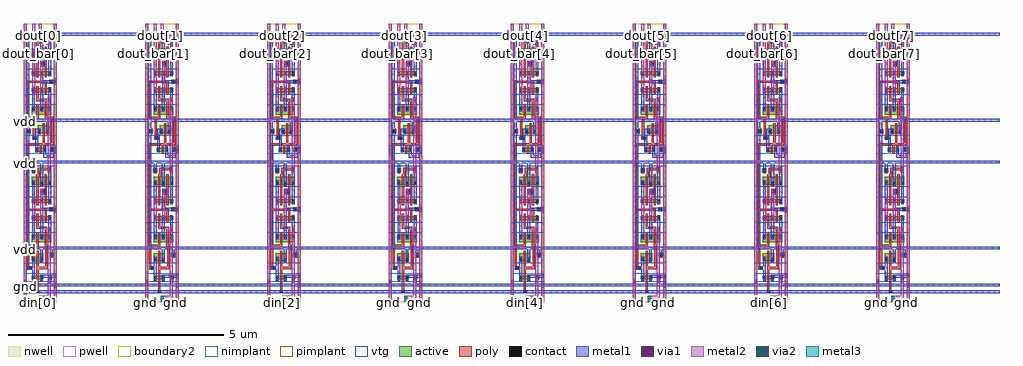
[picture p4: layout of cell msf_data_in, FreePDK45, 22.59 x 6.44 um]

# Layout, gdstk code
import gdstk
lib = gdstk.Library(unit=1e-6, precision=5e-10)
def R(c, l, rs):  # rectangles x0, y0, x1, y1
    for r in rs: c.add(gdstk.rectangle(r[:2], r[2:], *l))
active = (1, 0)
pwell = (2, 0)
nwell = (3, 0)
nimplant = (4, 0)
pimplant = (5, 0)
vtg = (6, 0)
poly = (9, 0)
contact = (10, 0)
metal1 = (11, 0)
via1 = (12, 0)
metal2 = (13, 0)
via2 = (14, 0)
metal3 = (15, 0)
boundary2 = (239, 0)

ms_flop = lib.new_cell('ms_flop')
R(ms_flop, active, [(0.16,0.525,0.235,0.6), (0.16,0.525,0.42,0.615), (0.16,0.525,0.235,0.615), (0.16,0.525,0.235,0.615), (0.345,0.525,0.42,0.6), (0.345,0.525,0.42,0.615), (0.345,0.525,0.42,0.615), (0.53,0.525,0.62,0.615), (0.16,0.95,0.235,1.025), (0.16,0.95,0.42,1.13), (0.16,0.95,0.235,1.13), (0.16,0.95,0.235,1.13), (0.345,0.95,0.42,1.025), (0.345,0.95,0.42,1.13), (0.345,0.95,0.42,1.13), (0.57,1.05,0.66,1.14), (0.16,1.38,0.42,1.56), (0.16,1.38,0.235,1.56), (0.16,1.38,0.235,1.56), (0.345,1.38,0.42,1.56), (0.345,1.38,0.42,1.56), (0.35,1.38,0.61,1.56), (0.35,1.38,0.425,1.56), (0.35,1.38,0.425,1.56), (0.535,1.38,0.61,1.56), (0.535,1.38,0.61,1.56), (0.16,1.485,0.235,1.56), (0.345,1.485,0.42,1.56), (0.35,1.485,0.425,1.56), (0.535,1.485,0.61,1.56), (0.16,1.895,0.42,1.985), (0.16,1.895,0.235,1.985), (0.16,1.895,0.235,1.985), (0.345,1.895,0.42,1.985), (0.345,1.895,0.42,1.985), (0.35,1.895,0.61,1.985), (0.35,1.895,0.425,1.985), (0.35,1.895,0.425,1.985), (0.535,1.895,0.61,1.985), (0.535,1.895,0.61,1.985), (0.16,1.91,0.235,1.985), (0.345,1.91,0.42,1.985), (0.35,1.91,0.425,1.985), (0.535,1.91,0.61,1.985), (0.565,2.1,0.655,2.19), (0.16,2.295,0.235,2.37), (0.16,2.295,0.42,2.385), (0.16,2.295,0.235,2.385), (0.16,2.295,0.235,2.385), (0.345,2.295,0.42,2.37), (0.345,2.295,0.42,2.385), (0.345,2.295,0.42,2.385), (0.35,2.295,0.425,2.37), (0.35,2.295,0.61,2.385), (0.35,2.295,0.425,2.385), (0.35,2.295,0.425,2.385), (0.535,2.295,0.61,2.37), (0.535,2.295,0.61,2.385), (0.535,2.295,0.61,2.385), (0.16,2.72,0.235,2.795), (0.16,2.72,0.42,2.9), (0.16,2.72,0.235,2.9), (0.16,2.72,0.235,2.9), (0.345,2.72,0.42,2.795), (0.345,2.72,0.42,2.9), (0.345,2.72,0.42,2.9), (0.35,2.72,0.425,2.795), (0.35,2.72,0.61,2.9), (0.35,2.72,0.425,2.9), (0.35,2.72,0.425,2.9), (0.535,2.72,0.61,2.795), (0.535,2.72,0.61,2.9), (0.535,2.72,0.61,2.9), (0.1525,3.01,0.2425,3.1), (0.235,3.485,0.495,3.575), (0.235,3.485,0.31,3.575), (0.235,3.485,0.31,3.575), (0.42,3.485,0.495,3.575), (0.42,3.485,0.495,3.575), (0.575,3.485,0.665,3.575), (0.235,3.5,0.31,3.575), (0.42,3.5,0.495,3.575), (0.0425,3.91,0.1325,4), (0.3,3.91,0.375,3.985), (0.3,3.91,0.56,4.09), (0.3,3.91,0.375,4.09), (0.3,3.91,0.375,4.09), (0.485,3.91,0.56,3.985), (0.485,3.91,0.56,4.09), (0.485,3.91,0.56,4.09), (0.16,4.34,0.42,4.52), (0.16,4.34,0.235,4.52), (0.16,4.34,0.235,4.52), (0.345,4.34,0.42,4.52), (0.345,4.34,0.42,4.52), (0.35,4.34,0.61,4.52), (0.35,4.34,0.425,4.52), (0.35,4.34,0.425,4.52), (0.535,4.34,0.61,4.52), (0.535,4.34,0.61,4.52), (0.16,4.445,0.235,4.52), (0.345,4.445,0.42,4.52), (0.35,4.445,0.425,4.52), (0.535,4.445,0.61,4.52), (0.16,4.855,0.42,4.945), (0.16,4.855,0.235,4.945), (0.16,4.855,0.235,4.945), (0.345,4.855,0.42,4.945), (0.345,4.855,0.42,4.945), (0.35,4.855,0.61,4.945), (0.35,4.855,0.425,4.945), (0.35,4.855,0.425,4.945), (0.535,4.855,0.61,4.945), (0.535,4.855,0.61,4.945), (0.16,4.87,0.235,4.945), (0.345,4.87,0.42,4.945), (0.35,4.87,0.425,4.945), (0.535,4.87,0.61,4.945), (0.565,5.06,0.655,5.15), (0.16,5.255,0.235,5.33), (0.16,5.255,0.42,5.345), (0.16,5.255,0.235,5.345), (0.16,5.255,0.235,5.345), (0.345,5.255,0.42,5.33), (0.345,5.255,0.42,5.345), (0.345,5.255,0.42,5.345), (0.35,5.255,0.425,5.33), (0.35,5.255,0.61,5.345), (0.35,5.255,0.425,5.345), (0.35,5.255,0.425,5.345), (0.535,5.255,0.61,5.33), (0.535,5.255,0.61,5.345), (0.535,5.255,0.61,5.345), (0.16,5.68,0.235,5.755), (0.16,5.68,0.42,5.86), (0.16,5.68,0.235,5.86), (0.16,5.68,0.235,5.86), (0.345,5.68,0.42,5.755), (0.345,5.68,0.42,5.86), (0.345,5.68,0.42,5.86), (0.35,5.68,0.425,5.755), (0.35,5.68,0.61,5.86), (0.35,5.68,0.425,5.86), (0.35,5.68,0.425,5.86), (0.535,5.68,0.61,5.755), (0.535,5.68,0.61,5.86), (0.535,5.68,0.61,5.86), (0.1525,6.09,0.2425,6.18)])
R(ms_flop, pwell, [(-0.035,0.47,0.74,0.67), (0.105,0.47,0.475,0.67), (0.475,0.47,0.675,0.67), (-0.035,1.84,0.74,2.44), (0.105,1.84,0.475,2.04), (0.295,1.84,0.665,2.04), (0.51,2.045,0.71,2.245), (0.105,2.24,0.475,2.44), (0.295,2.24,0.665,2.44), (-0.035,3.43,0.74,3.63), (0.18,3.43,0.55,3.63), (0.52,3.43,0.72,3.63), (-0.035,4.8,0.74,5.4), (0.105,4.8,0.475,5), (0.295,4.8,0.665,5), (0.51,5.005,0.71,5.205), (0.105,5.2,0.475,5.4), (0.295,5.2,0.665,5.4)])
R(ms_flop, nwell, [(-0.035,0.895,0.74,1.615), (0.105,0.895,0.475,1.185), (0.515,0.995,0.715,1.195), (0.105,1.325,0.475,1.615), (0.295,1.325,0.665,1.615), (-0.035,2.665,0.74,3.155), (0.105,2.665,0.475,2.955), (0.295,2.665,0.665,2.955), (0.0975,2.955,0.2975,3.155), (-0.035,3.855,0.74,4.575), (-0.0125,3.855,0.1875,4.055), (0.245,3.855,0.615,4.145), (0.105,4.285,0.475,4.575), (0.295,4.285,0.665,4.575), (-0.035,5.625,0.74,6.235), (0.105,5.625,0.475,5.915), (0.295,5.625,0.665,5.915), (0.0975,6.035,0.2975,6.235)])
R(ms_flop, nimplant, [(0.16,0.525,0.42,0.615), (0.57,1.05,0.66,1.14), (0.16,1.895,0.42,1.985), (0.35,1.895,0.61,1.985), (0.16,2.295,0.42,2.385), (0.35,2.295,0.61,2.385), (0.1525,3.01,0.2425,3.1), (0.235,3.485,0.495,3.575), (0.0425,3.91,0.1325,4), (0.16,4.855,0.42,4.945), (0.35,4.855,0.61,4.945), (0.16,5.255,0.42,5.345), (0.35,5.255,0.61,5.345), (0.1525,6.09,0.2425,6.18)])
R(ms_flop, pimplant, [(0.53,0.525,0.62,0.615), (0.16,0.95,0.42,1.13), (0.16,1.38,0.42,1.56), (0.35,1.38,0.61,1.56), (0.565,2.1,0.655,2.19), (0.16,2.72,0.42,2.9), (0.35,2.72,0.61,2.9), (0.575,3.485,0.665,3.575), (0.3,3.91,0.56,4.09), (0.16,4.34,0.42,4.52), (0.35,4.34,0.61,4.52), (0.565,5.06,0.655,5.15), (0.16,5.68,0.42,5.86), (0.35,5.68,0.61,5.86)])
R(ms_flop, vtg, [(-0.035,0.47,0.74,0.67), (0.105,0.47,0.475,0.67), (-0.035,0.895,0.74,1.615), (0.105,0.895,0.475,1.185), (0.105,1.325,0.475,1.615), (0.295,1.325,0.665,1.615), (-0.035,1.84,0.74,2.44), (0.105,1.84,0.475,2.04), (0.295,1.84,0.665,2.04), (0.105,2.24,0.475,2.44), (0.295,2.24,0.665,2.44), (-0.035,2.665,0.74,3.155), (0.105,2.665,0.475,2.955), (0.295,2.665,0.665,2.955), (-0.0325,3.43,0.74,3.63), (0.18,3.43,0.55,3.63), (-0.035,3.855,0.74,4.575), (0.245,3.855,0.615,4.145), (0.105,4.285,0.475,4.575), (0.295,4.285,0.665,4.575), (-0.035,4.8,0.74,5.4), (0.105,4.8,0.475,5), (0.295,4.8,0.665,5), (0.105,5.2,0.475,5.4), (0.295,5.2,0.665,5.4), (-0.035,5.625,0.74,6.115), (0.105,5.625,0.475,5.915), (0.295,5.625,0.665,5.915)])
R(ms_flop, poly, [(0.2575,0.2,0.3325,0.275), (0.265,0.2,0.315,0.47), (0.265,0.47,0.315,0.525), (0.265,0.47,0.315,0.67), (0.265,0.615,0.315,0.67), (0.265,0.67,0.315,0.895), (0.0525,0.75,0.1025,1.325), (0.0875,0.75,0.1625,0.825), (0.315,0.7625,0.52,0.8125), (0.47,0.8125,0.52,1.325), (0.265,0.895,0.315,0.95), (0.265,0.895,0.315,1.185), (0.265,1.13,0.315,1.185), (0.0525,1.275,0.315,1.325), (0.455,1.275,0.52,1.325), (0.0525,1.325,0.1025,2.115), (0.265,1.325,0.315,1.38), (0.265,1.325,0.315,1.615), (0.455,1.325,0.505,1.38), (0.455,1.325,0.505,1.615), (0.265,1.56,0.315,1.615), (0.455,1.56,0.505,1.615), (0.455,1.615,0.505,1.695), (0.265,1.695,0.505,1.745), (0.265,1.745,0.315,1.84), (0.265,1.84,0.315,1.895), (0.265,1.84,0.315,2.04), (0.455,1.84,0.505,1.895), (0.455,1.84,0.505,2.04), (0.265,1.985,0.315,2.04), (0.455,1.985,0.505,2.04), (0.455,2.04,0.505,2.115), (0.0525,2.115,0.505,2.165), (0.0525,2.165,0.1025,3.68), (0.265,2.24,0.315,2.295), (0.265,2.24,0.315,2.44), (0.455,2.24,0.505,2.295), (0.455,2.24,0.505,2.44), (0.265,2.385,0.315,2.44), (0.455,2.385,0.505,2.44), (0.265,2.44,0.315,2.665), (0.455,2.44,0.505,2.665), (0.405,2.52,0.48,2.595), (0.265,2.665,0.315,2.72), (0.265,2.665,0.315,2.955), (0.455,2.665,0.505,2.72), (0.455,2.665,0.505,2.955), (0.265,2.9,0.315,2.955), (0.265,2.9,0.3425,2.955), (0.455,2.9,0.505,2.955), (0.2925,2.955,0.3425,3.055), (0.5275,3.03,0.6025,3.105), (0.2925,3.055,0.535,3.105), (0.34,3.43,0.39,3.485), (0.34,3.43,0.39,3.63), (0.34,3.575,0.39,3.63), (0.0525,3.63,0.62,3.68), (0.405,3.63,0.455,3.855), (0.61,3.63,0.66,4.285), (0.1825,3.755,0.2325,3.7875), (0.1975,3.755,0.2725,3.83), (0.1825,3.7875,0.2325,4.285), (0.405,3.855,0.455,3.91), (0.405,3.855,0.455,4.145), (0.405,4.09,0.455,4.145), (0.0525,4.235,0.315,4.285), (0.455,4.235,0.62,4.285), (0.0525,4.285,0.1025,5.075), (0.265,4.285,0.315,4.34), (0.265,4.285,0.315,4.575), (0.455,4.285,0.505,4.34), (0.455,4.285,0.505,4.575), (0.265,4.52,0.315,4.575), (0.455,4.52,0.505,4.575), (0.455,4.575,0.505,4.655), (0.265,4.655,0.505,4.705), (0.265,4.705,0.315,4.8), (0.265,4.8,0.315,4.855), (0.265,4.8,0.315,5), (0.455,4.8,0.505,4.855), (0.455,4.8,0.505,5), (0.265,4.945,0.315,5), (0.455,4.945,0.505,5), (0.455,5,0.505,5.075), (0.0525,5.075,0.505,5.125), (0.265,5.2,0.315,5.255), (0.265,5.2,0.315,5.4), (0.455,5.2,0.505,5.255), (0.455,5.2,0.505,5.4), (0.265,5.345,0.315,5.4), (0.455,5.345,0.505,5.4), (0.265,5.4,0.315,5.625), (0.455,5.4,0.505,5.625), (0.395,5.48,0.47,5.555), (0.265,5.625,0.315,5.68), (0.265,5.625,0.315,5.915), (0.455,5.625,0.505,5.68), (0.455,5.625,0.505,5.915), (0.265,5.86,0.315,5.915), (0.455,5.86,0.505,5.915), (0.265,5.915,0.315,5.99), (0.265,5.99,0.535,6.04), (0.485,5.99,0.56,6.065)])
R(ms_flop, contact, [(0.2625,0.205,0.3275,0.27), (0.165,0.53,0.23,0.595), (0.35,0.53,0.415,0.595), (0.5425,0.5375,0.6075,0.6025), (0.0925,0.755,0.1575,0.82), (0.165,0.955,0.23,1.02), (0.35,0.955,0.415,1.02), (0.5825,1.0625,0.6475,1.1275), (0.165,1.49,0.23,1.555), (0.35,1.49,0.415,1.555), (0.355,1.49,0.42,1.555), (0.54,1.49,0.605,1.555), (0.165,1.915,0.23,1.98), (0.35,1.915,0.415,1.98), (0.355,1.915,0.42,1.98), (0.54,1.915,0.605,1.98), (0.5775,2.1125,0.6425,2.1775), (0.165,2.3,0.23,2.365), (0.35,2.3,0.415,2.365), (0.355,2.3,0.42,2.365), (0.54,2.3,0.605,2.365), (0.41,2.525,0.475,2.59), (0.165,2.725,0.23,2.79), (0.35,2.725,0.415,2.79), (0.355,2.725,0.42,2.79), (0.54,2.725,0.605,2.79), (0.165,3.0225,0.23,3.0875), (0.5325,3.035,0.5975,3.1), (0.5875,3.4975,0.6525,3.5625), (0.24,3.505,0.305,3.57), (0.425,3.505,0.49,3.57), (0.2025,3.76,0.2675,3.825), (0.305,3.915,0.37,3.98), (0.49,3.915,0.555,3.98), (0.055,3.9225,0.12,3.9875), (0.165,4.45,0.23,4.515), (0.35,4.45,0.415,4.515), (0.355,4.45,0.42,4.515), (0.54,4.45,0.605,4.515), (0.165,4.875,0.23,4.94), (0.35,4.875,0.415,4.94), (0.355,4.875,0.42,4.94), (0.54,4.875,0.605,4.94), (0.5775,5.0725,0.6425,5.1375), (0.165,5.26,0.23,5.325), (0.35,5.26,0.415,5.325), (0.355,5.26,0.42,5.325), (0.54,5.26,0.605,5.325), (0.4,5.485,0.465,5.55), (0.165,5.685,0.23,5.75), (0.35,5.685,0.415,5.75), (0.355,5.685,0.42,5.75), (0.54,5.685,0.605,5.75), (0.49,5.995,0.555,6.06), (0.165,6.1025,0.23,6.1675)])
R(ms_flop, metal1, [(-0.035,0.205,0.74,0.27), (-0.035,0.205,0.74,0.27), (0.2275,0.205,0.3625,0.27), (0.105,0.21,0.17,0.2675), (0.6725,0.335,0.7375,0.47), (-0.035,0.365,0.74,0.43), (-0.035,0.365,0.74,0.43), (-0.0325,0.385,0.0325,0.52), (0.5425,0.43,0.6075,0.5025), (0.6725,0.45,0.7375,0.5725), (0.165,0.495,0.23,0.63), (0.165,0.495,0.23,0.92), (0.35,0.495,0.415,0.63), (0.5425,0.5025,0.6075,0.6375), (0.6725,0.525,0.7375,0.66), (0.415,0.56,0.6725,0.63), (0.0575,0.75,0.23,0.825), (0.0575,0.755,0.1925,0.82), (0.165,0.92,0.23,1.055), (0.35,0.92,0.415,1.055), (0.5825,1.0275,0.6475,1.1625), (0.35,1.0525,0.415,1.22), (0.5825,1.14,0.6475,1.255), (-0.035,1.22,0.74,1.285), (-0.035,1.22,0.74,1.285), (0.035,1.285,0.1,3.21), (0.165,1.455,0.23,1.59), (0.35,1.455,0.415,1.59), (0.355,1.455,0.42,1.59), (0.54,1.455,0.605,1.59), (0.165,1.59,0.23,1.88), (0.35,1.59,0.42,1.88), (0.54,1.59,0.605,1.88), (0.5325,1.6025,0.5975,1.7375), (0.1675,1.8775,0.2325,2.0125), (0.355,1.8775,0.42,2.0125), (0.165,1.88,0.23,2.015), (0.35,1.88,0.415,2.015), (0.355,1.88,0.42,2.015), (0.54,1.88,0.605,2.015), (0.6725,2.0775,0.7375,2.2125), (0.35,2.11,0.42,2.2675), (0.35,2.11,0.735,2.18), (0.5425,2.1125,0.6775,2.1775), (0.165,2.265,0.23,2.4), (0.35,2.265,0.415,2.4), (0.355,2.265,0.42,2.4), (0.54,2.265,0.605,2.4), (0.1675,2.2675,0.2325,2.4025), (0.165,2.4,0.23,2.69), (0.54,2.4,0.605,2.69), (0.355,2.49,0.42,2.625), (0.41,2.49,0.475,2.625), (0.165,2.69,0.23,2.825), (0.35,2.69,0.415,2.825), (0.355,2.69,0.42,2.825), (0.54,2.69,0.605,2.825), (0.35,2.825,0.42,3.21), (0.54,2.825,0.605,3.135), (0.165,2.9875,0.23,3.1225), (0.5325,3,0.5975,3.135), (0.5325,3,0.5975,3.135), (0.165,3.1225,0.23,3.21), (-0.035,3.21,0.74,3.275), (-0.035,3.21,0.74,3.275), (0.035,3.275,0.1,6.17), (0.425,3.34,0.67,3.405), (0.5875,3.34,0.67,3.4625), (0.425,3.405,0.4925,3.5075), (0.5875,3.4625,0.6525,3.5975), (0.6075,3.4625,0.675,3.5975), (0.6725,3.4625,0.7375,3.5975), (0.24,3.47,0.305,3.605), (0.425,3.47,0.49,3.605), (0.24,3.565,0.305,4.015), (0.1675,3.76,0.3025,3.825), (0.305,3.88,0.37,4.015), (0.49,3.88,0.555,4.015), (0.055,3.8875,0.12,4.0225), (0.49,4.0125,0.555,4.18), (-0.035,4.18,0.74,4.245), (-0.035,4.18,0.74,4.245), (0.165,4.415,0.23,4.55), (0.35,4.415,0.415,4.55), (0.355,4.415,0.42,4.55), (0.54,4.415,0.605,4.55), (0.165,4.55,0.23,4.84), (0.35,4.55,0.42,4.84), (0.54,4.55,0.605,4.84), (0.53,4.6075,0.595,4.7425), (0.165,4.8375,0.23,4.9725), (0.355,4.8375,0.42,4.9725), (0.165,4.84,0.23,4.975), (0.35,4.84,0.415,4.975), (0.355,4.84,0.42,4.975), (0.54,4.84,0.605,4.975), (0.6725,5.0375,0.7375,5.1725), (0.35,5.07,0.42,5.2275), (0.35,5.07,0.735,5.14), (0.5425,5.0725,0.6775,5.1375), (0.165,5.225,0.23,5.36), (0.35,5.225,0.415,5.36), (0.355,5.225,0.42,5.36), (0.54,5.225,0.605,5.36), (0.165,5.36,0.23,5.65), (0.54,5.36,0.605,5.65), (0.355,5.45,0.42,5.585), (0.4,5.45,0.465,5.585), (0.165,5.65,0.23,5.785), (0.35,5.65,0.415,5.785), (0.355,5.65,0.42,5.785), (0.54,5.65,0.605,5.785), (0.165,5.7025,0.23,5.8375), (0.35,5.785,0.42,6.17), (0.54,5.785,0.605,6.095), (0.49,5.96,0.555,6.095), (0.5325,5.96,0.5975,6.095), (0.165,6.0675,0.23,6.2025), (-0.035,6.17,0.74,6.235), (-0.035,6.17,0.74,6.235), (0.305,6.1725,0.3775,6.235)])
R(ms_flop, via1, [(0.6725,0.37,0.7375,0.435), (-0.0325,0.42,0.0325,0.485), (0.6725,0.56,0.7375,0.625), (0.5325,1.6375,0.5975,1.7025), (0.1675,1.9125,0.2325,1.9775), (0.355,1.9125,0.42,1.9775), (0.6725,2.1125,0.7375,2.1775), (0.1675,2.3025,0.2325,2.3675), (0.355,2.525,0.42,2.59), (0.5325,3.035,0.5975,3.1), (0.6725,3.4975,0.7375,3.5625), (0.53,4.6425,0.595,4.7075), (0.165,4.8725,0.23,4.9375), (0.355,4.8725,0.42,4.9375), (0.6725,5.0725,0.7375,5.1375), (0.355,5.485,0.42,5.55), (0.165,5.7375,0.23,5.8025), (0.5325,5.995,0.5975,6.06)])
R(ms_flop, metal2, [(-0.035,0,0.035,6.44), (-0.035,0,0.035,6.44), (0.3175,0,0.3875,0.14), (0.3175,0,0.3875,0.145), (0.3175,0,0.3875,0.145), (0.67,0,0.74,6.44), (0.67,0,0.74,6.44), (0.3175,0.005,0.385,0.07), (0.3825,0.075,0.53,0.145), (0.53,0.075,0.6,1.7375), (0.67,0.335,0.74,0.47), (-0.035,0.385,0.035,0.52), (0.67,0.525,0.74,0.66), (0.53,1.6025,0.6,1.7375), (0.165,1.8775,0.235,2.0125), (0.165,1.8775,0.235,2.4025), (0.3525,1.8775,0.4225,2.0125), (0.3525,1.8775,0.4225,2.595), (0.67,2.0775,0.74,2.2125), (0.165,2.2675,0.235,2.4025), (0.3525,2.49,0.4225,2.625), (0.53,3,0.6,3.135), (0.53,3.135,0.6,4.7425), (0.67,3.4625,0.74,3.5975), (0.5275,4.6075,0.5975,4.7425), (0.1625,4.8375,0.2325,4.9725), (0.1625,4.8375,0.2325,5.7775), (0.3525,4.8375,0.4225,4.9725), (0.3525,4.8375,0.4225,5.555), (0.67,5.0375,0.74,5.1725), (0.3525,5.45,0.4225,5.585), (0.1625,5.7025,0.2325,5.8375), (0.1625,5.7525,0.2325,6.44), (0.1625,5.7525,0.2325,6.44), (0.53,5.96,0.6,6.095), (0.53,5.96,0.6,6.24), (-0.0325,5.9625,0.03,6.0225), (0.3175,6.17,0.3875,6.44), (0.3175,6.17,0.3875,6.44), (0.3875,6.17,0.53,6.24), (0.1675,6.3025,0.23,6.3625), (0.32,6.375,0.385,6.435)])
R(ms_flop, via2, [(0.3175,0.035,0.3875,0.105)])
R(ms_flop, metal3, [(0.3175,0,0.3875,0.14), (0.3175,0,0.3875,0.14)])
R(ms_flop, boundary2, [(0,0,0.705,6.44)])
ms_flop.add(gdstk.Label('l = 0.05', (0.515,2.81), layer=230, texttype=0))
ms_flop.add(gdstk.Label('w = 0.18', (0.48,2.965), layer=230, texttype=0))
ms_flop.add(gdstk.Label('l = 0.05', (0.515,1.47), layer=230, texttype=0))
ms_flop.add(gdstk.Label('w = 0.18', (0.48,1.315), layer=230, texttype=0))
ms_flop.add(gdstk.Label('l = 0.05', (0.325,2.81), layer=230, texttype=0))
ms_flop.add(gdstk.Label('w = 0.18', (0.29,2.965), layer=230, texttype=0))
ms_flop.add(gdstk.Label('l = 0.05', (0.325,5.77), layer=230, texttype=0))
ms_flop.add(gdstk.Label('w = 0.18', (0.29,5.925), layer=230, texttype=0))
ms_flop.add(gdstk.Label('l = 0.05', (0.325,1.47), layer=230, texttype=0))
ms_flop.add(gdstk.Label('w = 0.18', (0.29,1.315), layer=230, texttype=0))
ms_flop.add(gdstk.Label('l = 0.05', (0.515,5.77), layer=230, texttype=0))
ms_flop.add(gdstk.Label('w = 0.18', (0.48,5.925), layer=230, texttype=0))
ms_flop.add(gdstk.Label('l = 0.05', (0.325,1.04), layer=230, texttype=0))
ms_flop.add(gdstk.Label('w = 0.18', (0.29,1.195), layer=230, texttype=0))
ms_flop.add(gdstk.Label('l = 0.05', (0.465,4), layer=230, texttype=0))
ms_flop.add(gdstk.Label('w = 0.18', (0.43,4.155), layer=230, texttype=0))
ms_flop.add(gdstk.Label('l = 0.05', (0.515,4.43), layer=230, texttype=0))
ms_flop.add(gdstk.Label('w = 0.18', (0.48,4.275), layer=230, texttype=0))
ms_flop.add(gdstk.Label('l = 0.05', (0.325,4.43), layer=230, texttype=0))
ms_flop.add(gdstk.Label('w = 0.18', (0.29,4.275), layer=230, texttype=0))
ms_flop.add(gdstk.Label('l = 0.05', (0.515,4.9), layer=230, texttype=0))
ms_flop.add(gdstk.Label('w = 0.09', (0.48,4.79), layer=230, texttype=0))
ms_flop.add(gdstk.Label('l = 0.05', (0.515,1.94), layer=230, texttype=0))
ms_flop.add(gdstk.Label('w = 0.09', (0.48,1.83), layer=230, texttype=0))
ms_flop.add(gdstk.Label('l = 0.05', (0.515,5.3), layer=230, texttype=0))
ms_flop.add(gdstk.Label('w = 0.09', (0.48,5.41), layer=230, texttype=0))
ms_flop.add(gdstk.Label('l = 0.05', (0.325,5.3), layer=230, texttype=0))
ms_flop.add(gdstk.Label('w = 0.09', (0.29,5.41), layer=230, texttype=0))
ms_flop.add(gdstk.Label('l = 0.05', (0.325,1.94), layer=230, texttype=0))
ms_flop.add(gdstk.Label('w = 0.09', (0.29,1.83), layer=230, texttype=0))
ms_flop.add(gdstk.Label('l = 0.05', (0.325,4.9), layer=230, texttype=0))
ms_flop.add(gdstk.Label('w = 0.09', (0.29,4.79), layer=230, texttype=0))
ms_flop.add(gdstk.Label('l = 0.05', (0.325,2.34), layer=230, texttype=0))
ms_flop.add(gdstk.Label('w = 0.09', (0.29,2.45), layer=230, texttype=0))
ms_flop.add(gdstk.Label('l = 0.05', (0.515,2.34), layer=230, texttype=0))
ms_flop.add(gdstk.Label('w = 0.09', (0.48,2.45), layer=230, texttype=0))
ms_flop.add(gdstk.Label('l = 0.05', (0.325,0.57), layer=230, texttype=0))
ms_flop.add(gdstk.Label('w = 0.09', (0.29,0.68), layer=230, texttype=0))
ms_flop.add(gdstk.Label('l = 0.05', (0.4,3.53), layer=230, texttype=0))
ms_flop.add(gdstk.Label('w = 0.09', (0.365,3.42), layer=230, texttype=0))
ms_flop.add(gdstk.Label('dout', (0.3525,6.415), layer=13, texttype=0))
ms_flop.add(gdstk.Label('dout_bar', (0.2025,6.3375), layer=13, texttype=0))
ms_flop.add(gdstk.Label('gnd', (0,5.99), layer=13, texttype=0))
ms_flop.add(gdstk.Label('din', (0.345,0.04), layer=13, texttype=0))
ms_flop.add(gdstk.Label('gnd', (0.6825,6.29), layer=13, texttype=0))
ms_flop.add(gdstk.Label('din', (0.3325,0.0775), layer=15, texttype=0))
ms_flop.add(gdstk.Label('vdd', (0.2025,3.2625), layer=11, texttype=0))
ms_flop.add(gdstk.Label('gnd', (0.1425,0.415), layer=11, texttype=0))
ms_flop.add(gdstk.Label('vdd', (0.34,6.2025), layer=11, texttype=0))
ms_flop.add(gdstk.Label('clk', (0.135,0.24), layer=11, texttype=0))
ms_flop.add(gdstk.Label('vdd', (0.19,1.27), layer=11, texttype=0))
ms_flop.add(gdstk.Label('vdd', (0.295,4.2325), layer=11, texttype=0))
ms_flop.add(gdstk.Label('din', (0.3175,0), layer=13, texttype=0))
ms_flop.add(gdstk.Label('din', (0.3175,0), layer=15, texttype=0))
ms_flop.add(gdstk.Label('dout', (0.3175,6.17), layer=13, texttype=0))
ms_flop.add(gdstk.Label('clk', (-0.035,0.205), layer=11, texttype=0))
ms_flop.add(gdstk.Label('dout_bar', (0.1625,5.7525), layer=13, texttype=0))
ms_flop.add(gdstk.Label('vdd', (-0.035,3.21), layer=11, texttype=0))
ms_flop.add(gdstk.Label('vdd', (-0.035,6.17), layer=11, texttype=0))
ms_flop.add(gdstk.Label('vdd', (-0.035,1.22), layer=11, texttype=0))
ms_flop.add(gdstk.Label('vdd', (-0.035,4.18), layer=11, texttype=0))
ms_flop.add(gdstk.Label('gnd', (-0.035,0), layer=13, texttype=0))
ms_flop.add(gdstk.Label('gnd', (0.67,0), layer=13, texttype=0))
ms_flop.add(gdstk.Label('gnd', (-0.035,0.365), layer=11, texttype=0))

msf_data_in = lib.new_cell('msf_data_in')
R(msf_data_in, metal1, [(0,0.205,22.56,0.27), (0,0.205,22.56,0.27), (0,0.365,22.56,0.43), (0,0.365,22.56,0.43), (0,1.22,22.56,1.285), (0,1.22,22.56,1.285), (0,3.21,22.56,3.275), (0,3.21,22.56,3.275), (0,4.18,22.56,4.245), (0,4.18,22.56,4.245), (0,6.17,22.56,6.235), (0,6.17,22.56,6.235)])
R(msf_data_in, metal2, [(-0.035,0,0.035,6.44), (-0.035,0,0.035,6.44), (0.3175,0,0.3875,0.145), (0.3175,0,0.3875,0.145), (0.67,0,0.74,6.44), (0.67,0,0.74,6.44), (2.785,0,2.855,6.44), (2.785,0,2.855,6.44), (3.1375,0,3.2075,0.145), (3.1375,0,3.2075,0.145), (3.49,0,3.56,6.44), (3.49,0,3.56,6.44), (5.605,0,5.675,6.44), (5.605,0,5.675,6.44), (5.9575,0,6.0275,0.145), (5.9575,0,6.0275,0.145), (6.31,0,6.38,6.44), (6.31,0,6.38,6.44), (8.425,0,8.495,6.44), (8.425,0,8.495,6.44), (8.7775,0,8.8475,0.145), (8.7775,0,8.8475,0.145), (9.13,0,9.2,6.44), (9.13,0,9.2,6.44), (11.245,0,11.315,6.44), (11.245,0,11.315,6.44), (11.5975,0,11.6675,0.145), (11.5975,0,11.6675,0.145), (11.95,0,12.02,6.44), (11.95,0,12.02,6.44), (14.065,0,14.135,6.44), (14.065,0,14.135,6.44), (14.4175,0,14.4875,0.145), (14.4175,0,14.4875,0.145), (14.77,0,14.84,6.44), (14.77,0,14.84,6.44), (16.885,0,16.955,6.44), (16.885,0,16.955,6.44), (17.2375,0,17.3075,0.145), (17.2375,0,17.3075,0.145), (17.59,0,17.66,6.44), (17.59,0,17.66,6.44), (19.705,0,19.775,6.44), (19.705,0,19.775,6.44), (20.0575,0,20.1275,0.145), (20.0575,0,20.1275,0.145), (20.41,0,20.48,6.44), (20.41,0,20.48,6.44), (0.1625,5.7525,0.2325,6.44), (0.1625,5.7525,0.2325,6.44), (2.9825,5.7525,3.0525,6.44), (2.9825,5.7525,3.0525,6.44), (5.8025,5.7525,5.8725,6.44), (5.8025,5.7525,5.8725,6.44), (8.6225,5.7525,8.6925,6.44), (8.6225,5.7525,8.6925,6.44), (11.4425,5.7525,11.5125,6.44), (11.4425,5.7525,11.5125,6.44), (14.2625,5.7525,14.3325,6.44), (14.2625,5.7525,14.3325,6.44), (17.0825,5.7525,17.1525,6.44), (17.0825,5.7525,17.1525,6.44), (19.9025,5.7525,19.9725,6.44), (19.9025,5.7525,19.9725,6.44), (0.3175,6.17,0.3875,6.44), (0.3175,6.17,0.3875,6.44), (3.1375,6.17,3.2075,6.44), (3.1375,6.17,3.2075,6.44), (5.9575,6.17,6.0275,6.44), (5.9575,6.17,6.0275,6.44), (8.7775,6.17,8.8475,6.44), (8.7775,6.17,8.8475,6.44), (11.5975,6.17,11.6675,6.44), (11.5975,6.17,11.6675,6.44), (14.4175,6.17,14.4875,6.44), (14.4175,6.17,14.4875,6.44), (17.2375,6.17,17.3075,6.44), (17.2375,6.17,17.3075,6.44), (20.0575,6.17,20.1275,6.44), (20.0575,6.17,20.1275,6.44)])
R(msf_data_in, metal3, [(0.3175,0,0.3875,0.14), (0.3175,0,0.3875,0.14), (3.1375,0,3.2075,0.14), (3.1375,0,3.2075,0.14), (5.9575,0,6.0275,0.14), (5.9575,0,6.0275,0.14), (8.7775,0,8.8475,0.14), (8.7775,0,8.8475,0.14), (11.5975,0,11.6675,0.14), (11.5975,0,11.6675,0.14), (14.4175,0,14.4875,0.14), (14.4175,0,14.4875,0.14), (17.2375,0,17.3075,0.14), (17.2375,0,17.3075,0.14), (20.0575,0,20.1275,0.14), (20.0575,0,20.1275,0.14)])
msf_data_in.add(gdstk.Reference(ms_flop, (0,0)))
msf_data_in.add(gdstk.Reference(ms_flop, (2.82,0)))
msf_data_in.add(gdstk.Reference(ms_flop, (5.64,0)))
msf_data_in.add(gdstk.Reference(ms_flop, (8.46,0)))
msf_data_in.add(gdstk.Reference(ms_flop, (11.28,0)))
msf_data_in.add(gdstk.Reference(ms_flop, (14.1,0)))
msf_data_in.add(gdstk.Reference(ms_flop, (16.92,0)))
msf_data_in.add(gdstk.Reference(ms_flop, (19.74,0)))
msf_data_in.add(gdstk.Reference(ms_flop, (0,0)))
msf_data_in.add(gdstk.Reference(ms_flop, (2.82,0)))
msf_data_in.add(gdstk.Reference(ms_flop, (5.64,0)))
msf_data_in.add(gdstk.Reference(ms_flop, (8.46,0)))
msf_data_in.add(gdstk.Reference(ms_flop, (11.28,0)))
msf_data_in.add(gdstk.Reference(ms_flop, (14.1,0)))
msf_data_in.add(gdstk.Reference(ms_flop, (16.92,0)))
msf_data_in.add(gdstk.Reference(ms_flop, (19.74,0)))
msf_data_in.add(gdstk.Label('din[6]', (17.2375,0), layer=13, texttype=0))
msf_data_in.add(gdstk.Label('din[6]', (17.2375,0), layer=15, texttype=0))
msf_data_in.add(gdstk.Label('dout_bar[2]', (5.8025,5.7525), layer=13, texttype=0))
msf_data_in.add(gdstk.Label('din[4]', (11.5975,0), layer=13, texttype=0))
msf_data_in.add(gdstk.Label('din[4]', (11.5975,0), layer=15, texttype=0))
msf_data_in.add(gdstk.Label('din[0]', (0.3175,0), layer=13, texttype=0))
msf_data_in.add(gdstk.Label('din[0]', (0.3175,0), layer=15, texttype=0))
msf_data_in.add(gdstk.Label('din[2]', (5.9575,0), layer=13, texttype=0))
msf_data_in.add(gdstk.Label('din[2]', (5.9575,0), layer=15, texttype=0))
msf_data_in.add(gdstk.Label('clk', (0,0.205), layer=11, texttype=0))
msf_data_in.add(gdstk.Label('dout[6]', (17.2375,6.17), layer=13, texttype=0))
msf_data_in.add(gdstk.Label('dout_bar[6]', (17.0825,5.7525), layer=13, texttype=0))
msf_data_in.add(gdstk.Label('dout[2]', (5.9575,6.17), layer=13, texttype=0))
msf_data_in.add(gdstk.Label('dout[4]', (11.5975,6.17), layer=13, texttype=0))
msf_data_in.add(gdstk.Label('dout_bar[0]', (0.1625,5.7525), layer=13, texttype=0))
msf_data_in.add(gdstk.Label('dout[0]', (0.3175,6.17), layer=13, texttype=0))
msf_data_in.add(gdstk.Label('dout_bar[4]', (11.4425,5.7525), layer=13, texttype=0))
msf_data_in.add(gdstk.Label('gnd', (-0.035,0), layer=13, texttype=0))
msf_data_in.add(gdstk.Label('gnd', (0.67,0), layer=13, texttype=0))
msf_data_in.add(gdstk.Label('gnd', (2.785,0), layer=13, texttype=0))
msf_data_in.add(gdstk.Label('gnd', (3.49,0), layer=13, texttype=0))
msf_data_in.add(gdstk.Label('gnd', (5.605,0), layer=13, texttype=0))
msf_data_in.add(gdstk.Label('gnd', (6.31,0), layer=13, texttype=0))
msf_data_in.add(gdstk.Label('gnd', (8.425,0), layer=13, texttype=0))
msf_data_in.add(gdstk.Label('gnd', (9.13,0), layer=13, texttype=0))
msf_data_in.add(gdstk.Label('gnd', (11.245,0), layer=13, texttype=0))
msf_data_in.add(gdstk.Label('gnd', (11.95,0), layer=13, texttype=0))
msf_data_in.add(gdstk.Label('gnd', (14.065,0), layer=13, texttype=0))
msf_data_in.add(gdstk.Label('gnd', (14.77,0), layer=13, texttype=0))
msf_data_in.add(gdstk.Label('gnd', (16.885,0), layer=13, texttype=0))
msf_data_in.add(gdstk.Label('gnd', (17.59,0), layer=13, texttype=0))
msf_data_in.add(gdstk.Label('gnd', (19.705,0), layer=13, texttype=0))
msf_data_in.add(gdstk.Label('gnd', (20.41,0), layer=13, texttype=0))
msf_data_in.add(gdstk.Label('gnd', (0,0.365), layer=11, texttype=0))
msf_data_in.add(gdstk.Label('din[7]', (20.0575,0), layer=13, texttype=0))
msf_data_in.add(gdstk.Label('din[7]', (20.0575,0), layer=15, texttype=0))
msf_data_in.add(gdstk.Label('dout_bar[1]', (2.9825,5.7525), layer=13, texttype=0))
msf_data_in.add(gdstk.Label('din[3]', (8.7775,0), layer=13, texttype=0))
msf_data_in.add(gdstk.Label('din[3]', (8.7775,0), layer=15, texttype=0))
msf_data_in.add(gdstk.Label('din[5]', (14.4175,0), layer=13, texttype=0))
msf_data_in.add(gdstk.Label('din[5]', (14.4175,0), layer=15, texttype=0))
msf_data_in.add(gdstk.Label('dout_bar[3]', (8.6225,5.7525), layer=13, texttype=0))
msf_data_in.add(gdstk.Label('din[1]', (3.1375,0), layer=13, texttype=0))
msf_data_in.add(gdstk.Label('din[1]', (3.1375,0), layer=15, texttype=0))
msf_data_in.add(gdstk.Label('dout[7]', (20.0575,6.17), layer=13, texttype=0))
msf_data_in.add(gdstk.Label('dout[3]', (8.7775,6.17), layer=13, texttype=0))
msf_data_in.add(gdstk.Label('dout_bar[7]', (19.9025,5.7525), layer=13, texttype=0))
msf_data_in.add(gdstk.Label('vdd', (0,3.21), layer=11, texttype=0))
msf_data_in.add(gdstk.Label('vdd', (0,6.17), layer=11, texttype=0))
msf_data_in.add(gdstk.Label('vdd', (0,1.22), layer=11, texttype=0))
msf_data_in.add(gdstk.Label('vdd', (0,4.18), layer=11, texttype=0))
msf_data_in.add(gdstk.Label('dout[5]', (14.4175,6.17), layer=13, texttype=0))
msf_data_in.add(gdstk.Label('dout[1]', (3.1375,6.17), layer=13, texttype=0))
msf_data_in.add(gdstk.Label('dout_bar[5]', (14.2625,5.7525), layer=13, texttype=0))
msf_data_in.add(gdstk.Label('din[6]', (17.2375,0), layer=13, texttype=0))
msf_data_in.add(gdstk.Label('din[6]', (17.2375,0), layer=15, texttype=0))
msf_data_in.add(gdstk.Label('dout_bar[2]', (5.8025,5.7525), layer=13, texttype=0))
msf_data_in.add(gdstk.Label('din[4]', (11.5975,0), layer=13, texttype=0))
msf_data_in.add(gdstk.Label('din[4]', (11.5975,0), layer=15, texttype=0))
msf_data_in.add(gdstk.Label('din[0]', (0.3175,0), layer=13, texttype=0))
msf_data_in.add(gdstk.Label('din[0]', (0.3175,0), layer=15, texttype=0))
msf_data_in.add(gdstk.Label('din[2]', (5.9575,0), layer=13, texttype=0))
msf_data_in.add(gdstk.Label('din[2]', (5.9575,0), layer=15, texttype=0))
msf_data_in.add(gdstk.Label('clk', (0,0.205), layer=11, texttype=0))
msf_data_in.add(gdstk.Label('dout[6]', (17.2375,6.17), layer=13, texttype=0))
msf_data_in.add(gdstk.Label('dout_bar[6]', (17.0825,5.7525), layer=13, texttype=0))
msf_data_in.add(gdstk.Label('dout[2]', (5.9575,6.17), layer=13, texttype=0))
msf_data_in.add(gdstk.Label('dout[4]', (11.5975,6.17), layer=13, texttype=0))
msf_data_in.add(gdstk.Label('dout_bar[0]', (0.1625,5.7525), layer=13, texttype=0))
msf_data_in.add(gdstk.Label('dout[0]', (0.3175,6.17), layer=13, texttype=0))
msf_data_in.add(gdstk.Label('dout_bar[4]', (11.4425,5.7525), layer=13, texttype=0))
msf_data_in.add(gdstk.Label('gnd', (-0.035,0), layer=13, texttype=0))
msf_data_in.add(gdstk.Label('gnd', (0.67,0), layer=13, texttype=0))
msf_data_in.add(gdstk.Label('gnd', (2.785,0), layer=13, texttype=0))
msf_data_in.add(gdstk.Label('gnd', (3.49,0), layer=13, texttype=0))
msf_data_in.add(gdstk.Label('gnd', (5.605,0), layer=13, texttype=0))
msf_data_in.add(gdstk.Label('gnd', (6.31,0), layer=13, texttype=0))
msf_data_in.add(gdstk.Label('gnd', (8.425,0), layer=13, texttype=0))
msf_data_in.add(gdstk.Label('gnd', (9.13,0), layer=13, texttype=0))
msf_data_in.add(gdstk.Label('gnd', (11.245,0), layer=13, texttype=0))
msf_data_in.add(gdstk.Label('gnd', (11.95,0), layer=13, texttype=0))
msf_data_in.add(gdstk.Label('gnd', (14.065,0), layer=13, texttype=0))
msf_data_in.add(gdstk.Label('gnd', (14.77,0), layer=13, texttype=0))
msf_data_in.add(gdstk.Label('gnd', (16.885,0), layer=13, texttype=0))
msf_data_in.add(gdstk.Label('gnd', (17.59,0), layer=13, texttype=0))
msf_data_in.add(gdstk.Label('gnd', (19.705,0), layer=13, texttype=0))
msf_data_in.add(gdstk.Label('gnd', (20.41,0), layer=13, texttype=0))
msf_data_in.add(gdstk.Label('gnd', (0,0.365), layer=11, texttype=0))
msf_data_in.add(gdstk.Label('din[7]', (20.0575,0), layer=13, texttype=0))
msf_data_in.add(gdstk.Label('din[7]', (20.0575,0), layer=15, texttype=0))
msf_data_in.add(gdstk.Label('dout_bar[1]', (2.9825,5.7525), layer=13, texttype=0))
msf_data_in.add(gdstk.Label('din[3]', (8.7775,0), layer=13, texttype=0))
msf_data_in.add(gdstk.Label('din[3]', (8.7775,0), layer=15, texttype=0))
msf_data_in.add(gdstk.Label('din[5]', (14.4175,0), layer=13, texttype=0))
msf_data_in.add(gdstk.Label('din[5]', (14.4175,0), layer=15, texttype=0))
msf_data_in.add(gdstk.Label('dout_bar[3]', (8.6225,5.7525), layer=13, texttype=0))
msf_data_in.add(gdstk.Label('din[1]', (3.1375,0), layer=13, texttype=0))
msf_data_in.add(gdstk.Label('din[1]', (3.1375,0), layer=15, texttype=0))
msf_data_in.add(gdstk.Label('dout[7]', (20.0575,6.17), layer=13, texttype=0))
msf_data_in.add(gdstk.Label('dout[3]', (8.7775,6.17), layer=13, texttype=0))
msf_data_in.add(gdstk.Label('dout_bar[7]', (19.9025,5.7525), layer=13, texttype=0))
msf_data_in.add(gdstk.Label('vdd', (0,3.21), layer=11, texttype=0))
msf_data_in.add(gdstk.Label('vdd', (0,6.17), layer=11, texttype=0))
msf_data_in.add(gdstk.Label('vdd', (0,1.22), layer=11, texttype=0))
msf_data_in.add(gdstk.Label('vdd', (0,4.18), layer=11, texttype=0))
msf_data_in.add(gdstk.Label('dout[5]', (14.4175,6.17), layer=13, texttype=0))
msf_data_in.add(gdstk.Label('dout[1]', (3.1375,6.17), layer=13, texttype=0))
msf_data_in.add(gdstk.Label('dout_bar[5]', (14.2625,5.7525), layer=13, texttype=0))

lib.write_gds('msf_data_in.gds')
